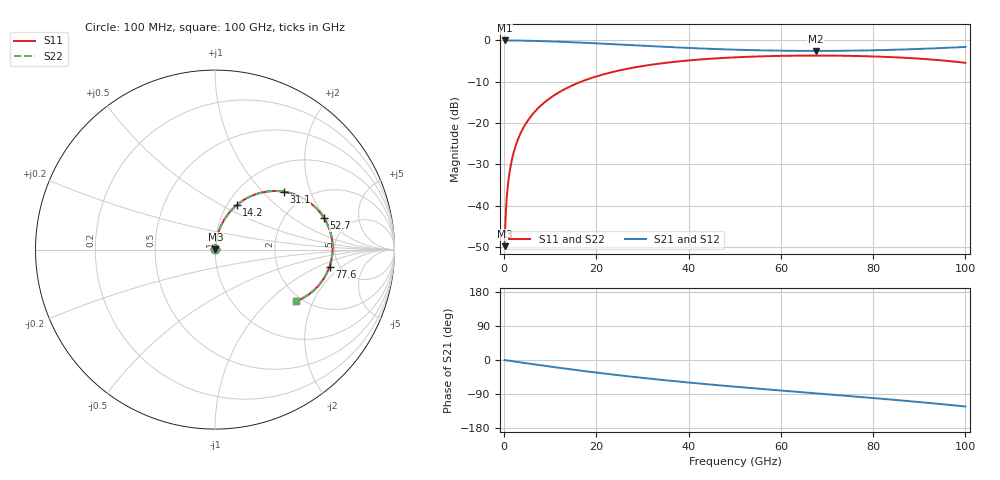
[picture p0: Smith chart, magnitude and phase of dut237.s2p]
! Touchstone file exported from HFSS 2026.1.0
!  File:  C:/ffzhzh/LocalFiles/Ansys_Project_Files/temp_train_RDL_237_1783501290_41296.aedt
!  Generated:  05:02:40 PM Jul  8, 2026
!  Design:  RDL
!  Project:  temp_train_RDL_237_1783501290_41296
! Variables:
!  h_bsmrdl = 2um
!  h_ox = 20um
!  h_rdl = 5um
!  h_sub = 80um
!  h_tmrdl = 4.68um
!  h_tsv = 80um
!  h_via = 3um
!  l_bsmrdl = 300um
!  l_sub = 830.46um
!  l_tmrdl = 430.46um
!  m_sub = 200um
!  pitch = 49.04um
!  r_tsv = 6um
!  s_tmrdl = 10um
!  w_bsmrdl = 18um
!  w_sub = 500um
!  w_tmrdl = 14.33um
!  x_tsv_center1 = 437.625um
!  x_tsv_center2 = 755.625um
!  x_tsv_center3 = 1200.415um
!  x_tsv_center4 = 1518.415um
!  x_tsv_center5 = 1963.205um
!  x_tsv_center6 = 2281.205um
# GHz S MA R 50.000000
! Terminal data exported
! Port[1] = TM_RDL1_1_T1
! Port[2] = TM_RDL1_1_T2
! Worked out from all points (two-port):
!   1000 points, 100 MHz to 100 GHz, reference 50 ohm
!   highest |S21| = -0.02 dB at 100 MHz (marker M1); lowest = -2.6 dB at 67.6 GHz (marker M2)
!   |S21| within 3 dB of the highest: start of sweep to end of sweep
!   lowest |S11| = -49.8 dB at 100 MHz (marker M3), VSWR 1.01, Z = 50.2 + j0.224 ohm
!   |S11| at or under -10 dB: start of sweep to 16.67 GHz
!   |S22| runs from -49.8 to -3.7 dB; largest |S21 - S12| = 1.4e-14
!   S11 on the Smith chart (normalised r, x): 100 MHz: 1.00, +0.00; 14.2 GHz: 1.11, +0.59; 31.1 GHz: 1.54, +1.33; 52.7 GHz: 3.26, +1.90; 77.6 GHz: 4.18, -1.35; 100 GHz: 1.85, -1.50
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0.1  0.003254 43.3  0.9976 -0.2  0.9976 -0.2  0.003254 43.3
! Gamma 0 0 0 0
! Port Impedance 50 0 50 0
0.4  0.00911 73.0  0.9974 -0.7  0.9974 -0.7  0.00911 73.0
0.8  0.01748 79.6  0.9971 -1.5  0.9971 -1.5  0.01748 79.6
1.3  0.02803 81.7  0.9967 -2.3  0.9967 -2.3  0.02803 81.7
1.7  0.03647 82.1  0.9963 -3.1  0.9963 -3.1  0.03647 82.1
2.2  0.047 82.1  0.9956 -4.0  0.9956 -4.0  0.047 82.1
3.5  0.07408 80.7  0.9933 -6.3  0.9933 -6.3  0.07408 80.7
5.3  0.1107 78.0  0.9888 -9.4  0.9888 -9.4  0.1107 78.0
7.6  0.156 74.3  0.9815 -13.4  0.9815 -13.4  0.156 74.4
10.6  0.2124 69.6  0.9698 -18.4  0.9698 -18.4  0.2124 69.6
14.2  0.2758 64.0  0.9528 -24.3  0.9528 -24.3  0.2758 64.0
16.8  0.3184 60.0  0.9389 -28.3  0.9389 -28.3  0.3184 60.0
23.2  0.4106 50.7  0.9019 -37.9  0.9019 -37.9  0.4106 50.8
31.1  0.5001 40.2  0.8556 -48.6  0.8556 -48.6  0.5 40.2
33.4  0.5214 37.3  0.8429 -51.5  0.8429 -51.5  0.5214 37.4
50.1  0.6238 18.6  0.7715 -70.5  0.7715 -70.5  0.6237 18.7
52.7  0.6327 16.0  0.7644 -73.2  0.7644 -73.2  0.6327 16.1
66.7  0.6555 2.2  0.7456 -87.2  0.7456 -87.2  0.6555 2.3
67.6  0.6555 1.4  0.7455 -88.1  0.7455 -88.1  0.6555 1.5
77.6  0.6453 -8.4  0.7541 -98.0  0.7541 -98.0  0.6453 -8.3
83.4  0.6295 -14.3  0.7668 -103.9  0.7668 -103.9  0.6294 -14.1
100  0.535 -32.7  0.8326 -122.7  0.8326 -122.7  0.535 -32.3
